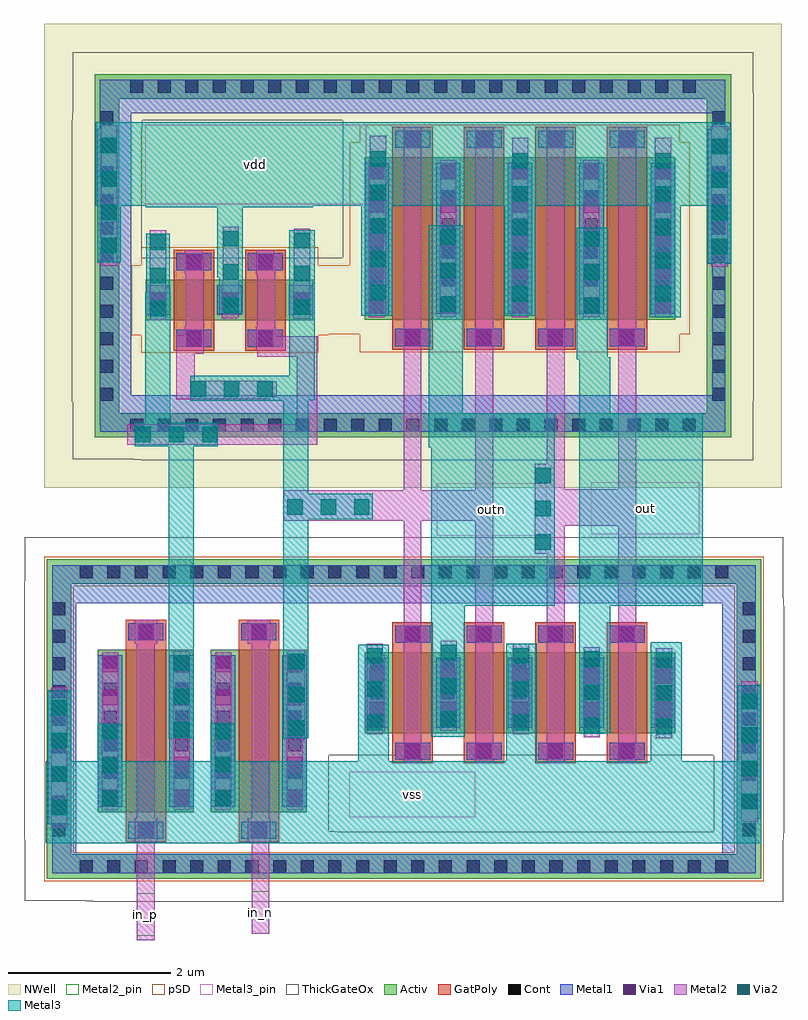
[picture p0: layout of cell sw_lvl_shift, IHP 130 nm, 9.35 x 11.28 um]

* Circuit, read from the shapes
.subckt sw_lvl_shift in_n in_p out outn vdd vss
XM1 sg13_hv_pmos_2TUKLB_20/D0 in_p vss vss sg13_hv_nmos w=2u l=0.5u
XM2 sg13_hv_nmos_CJ33WB_5/D1 in_n vss vss sg13_hv_nmos w=2u l=0.5u
XM3 outn sg13_hv_nmos_CJ33WB_5/D1 vss vss sg13_hv_nmos w=1u l=0.5u m=2
XM4 out outn vss vss sg13_hv_nmos w=1u l=0.5u m=2
XM5 vdd sg13_hv_nmos_CJ33WB_5/D1 sg13_hv_pmos_2TUKLB_20/D0 vdd sg13_hv_pmos w=0.5u l=0.5u
XM6 sg13_hv_nmos_CJ33WB_5/D1 sg13_hv_pmos_2TUKLB_20/D0 vdd vdd sg13_hv_pmos w=0.5u l=0.5u
XM7 outn sg13_hv_nmos_CJ33WB_5/D1 vdd vdd sg13_hv_pmos w=2u l=0.5u m=2
XM8 out outn vdd vdd sg13_hv_pmos w=2u l=0.5u m=2
.ends

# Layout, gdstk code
from math import pi, radians
import gdstk
lib = gdstk.Library(unit=1e-6, precision=1e-09)
def R(c, l, rs):  # rectangles x0, y0, x1, y1
    for r in rs: c.add(gdstk.rectangle(r[:2], r[2:], *l))
def A(c, l, x, y, w, h, nx, ny, dx, dy):  # array of equal rectangles
    R(c, l, [(x+i*dx, y+j*dy, x+i*dx+w, y+j*dy+h) for i in range(nx) for j in range(ny)])
Activ = (1, 0)
GatPoly = (5, 0)
Cont = (6, 0)
Metal1 = (8, 0)
Metal2 = (10, 0)
Metal2_pin = (10, 2)
pSD = (14, 0)
Via1 = (19, 0)
Via2 = (29, 0)
Metal3 = (30, 0)
Metal3_pin = (30, 2)
NWell = (31, 0)
ThickGateOx = (44, 0)

via_y6zd6n = lib.new_cell('via_Y6ZD6N')
R(via_y6zd6n, Metal2, [(-0.1,-0.555,0.1,0.555)])
A(via_y6zd6n, Via2, -0.095, -0.505, 0.19, 0.19, 1, 3, 0, 0.41)
R(via_y6zd6n, Metal3, [(-0.145,-0.51,0.145,0.51)])

via_qp3u7v = lib.new_cell('via_QP3U7V')
R(via_qp3u7v, Metal1, [(-0.145,-0.825,0.145,0.825)])
R(via_qp3u7v, Metal2, [(-0.1,-0.865,0.1,0.865)])
A(via_qp3u7v, Via1, -0.095, -0.71, 0.19, 0.19, 1, 4, 0, 0.41)
A(via_qp3u7v, Via2, -0.095, -0.71, 0.19, 0.19, 1, 4, 0, 0.41)
R(via_qp3u7v, Metal3, [(-0.145,-0.82,0.145,0.82)])

sg13_hv_nmos_cj33wb = lib.new_cell('sg13_hv_nmos_CJ33WB')
R(sg13_hv_nmos_cj33wb, Activ, [(-1.285,-1,-0.105,1), (0.105,-1,1.285,1)])
R(sg13_hv_nmos_cj33wb, GatPoly, [(-0.945,-1.37,-0.445,1.37), (0.445,-1.37,0.945,1.37)])
A(sg13_hv_nmos_cj33wb, Cont, -1.215, -0.93, 0.16, 0.16, 1, 6, 0, 0.34)
A(sg13_hv_nmos_cj33wb, Cont, -0.335, -0.93, 0.16, 0.16, 1, 6, 0, 0.34)
A(sg13_hv_nmos_cj33wb, Cont, 0.175, -0.93, 0.16, 0.16, 1, 6, 0, 0.34)
A(sg13_hv_nmos_cj33wb, Cont, 1.055, -0.93, 0.16, 0.16, 1, 6, 0, 0.34)
R(sg13_hv_nmos_cj33wb, Cont, [(-0.775,-1.3,-0.615,-1.14), (0.615,-1.3,0.775,-1.14), (-0.775,1.14,-0.615,1.3), (0.615,1.14,0.775,1.3)])
R(sg13_hv_nmos_cj33wb, Metal1, [(-0.91,-1.325,-0.48,-1.115), (0.48,-1.325,0.91,-1.115), (-1.285,-0.93,-0.985,0.93), (-0.405,-0.93,-0.105,0.93), (0.105,-0.93,0.405,0.93), (0.985,-0.93,1.285,0.93), (-0.91,1.115,-0.48,1.325), (0.48,1.115,0.91,1.325)])
R(sg13_hv_nmos_cj33wb, Metal2, [(-0.835,-1.365,-0.555,-1.075), (0.555,-1.365,0.835,-1.075), (-1.235,-0.97,-1.035,0.97), (-0.355,-0.97,-0.155,0.97), (0.155,-0.97,0.355,0.97), (1.035,-0.97,1.235,0.97), (-0.835,1.075,-0.555,1.365), (0.555,1.075,0.835,1.365)])
A(sg13_hv_nmos_cj33wb, Via1, -1.23, -0.915, 0.19, 0.19, 1, 5, 0, 0.41)
A(sg13_hv_nmos_cj33wb, Via1, -0.35, -0.915, 0.19, 0.19, 1, 5, 0, 0.41)
A(sg13_hv_nmos_cj33wb, Via1, 0.16, -0.915, 0.19, 0.19, 1, 5, 0, 0.41)
A(sg13_hv_nmos_cj33wb, Via1, 1.04, -0.915, 0.19, 0.19, 1, 5, 0, 0.41)
R(sg13_hv_nmos_cj33wb, Via1, [(-0.79,-1.315,-0.6,-1.125), (0.6,-1.315,0.79,-1.125), (-0.79,1.125,-0.6,1.315), (0.6,1.125,0.79,1.315)])
R(sg13_hv_nmos_cj33wb, ThickGateOx, [(-1.555,-1.27,1.555,1.27)])
sg13_hv_nmos_cj33wb.add(gdstk.Label('D0', (-1.135,0), layer=8, texttype=25))
sg13_hv_nmos_cj33wb.add(gdstk.Label('S0', (-0.255,0), layer=8, texttype=25))
sg13_hv_nmos_cj33wb.add(gdstk.Label('G0', (-0.695,1.22), layer=8, texttype=25))
sg13_hv_nmos_cj33wb.add(gdstk.Label('D1', (1.135,0), layer=8, texttype=25))
sg13_hv_nmos_cj33wb.add(gdstk.Label('S1', (0.255,0), layer=8, texttype=25))
sg13_hv_nmos_cj33wb.add(gdstk.Label('G1', (0.695,1.22), layer=8, texttype=25))

sg13_hv_nmos_hsmmzs = lib.new_cell('sg13_hv_nmos_HSMMZS')
R(sg13_hv_nmos_hsmmzs, Activ, [(-1.91,-0.5,1.91,0.5)])
A(sg13_hv_nmos_hsmmzs, GatPoly, -1.57, -0.87, 0.5, 1.74, 4, 1, 0.88, 0)
A(sg13_hv_nmos_hsmmzs, Cont, -1.4, -0.8, 0.16, 0.16, 4, 2, 0.88, 1.44)
A(sg13_hv_nmos_hsmmzs, Cont, -1.84, -0.42, 0.16, 0.16, 5, 3, 0.88, 0.34)
A(sg13_hv_nmos_hsmmzs, Metal1, -1.535, -0.825, 0.43, 0.21, 4, 2, 0.88, 1.44)
A(sg13_hv_nmos_hsmmzs, Metal1, -1.91, -0.43, 0.3, 0.86, 5, 1, 0.88, 0)
A(sg13_hv_nmos_hsmmzs, Metal2, -1.43, -0.865, 0.22, 0.29, 4, 2, 0.88, 1.44)
A(sg13_hv_nmos_hsmmzs, Metal2, -1.86, -0.47, 0.2, 0.94, 5, 1, 0.88, 0)
A(sg13_hv_nmos_hsmmzs, Via1, -1.415, -0.815, 0.19, 0.19, 4, 2, 0.88, 1.44)
A(sg13_hv_nmos_hsmmzs, Via1, -1.855, -0.3, 0.19, 0.19, 5, 2, 0.88, 0.41)
R(sg13_hv_nmos_hsmmzs, ThickGateOx, [(-2.18,-0.77,2.18,0.77)])
sg13_hv_nmos_hsmmzs.add(gdstk.Label('D0', (-1.76,0), layer=8, texttype=25))
sg13_hv_nmos_hsmmzs.add(gdstk.Label('G0', (-1.32,0.72), layer=8, texttype=25))
sg13_hv_nmos_hsmmzs.add(gdstk.Label('S1', (-0.88,0), layer=8, texttype=25))
sg13_hv_nmos_hsmmzs.add(gdstk.Label('G1', (-0.44,0.72), layer=8, texttype=25))
sg13_hv_nmos_hsmmzs.add(gdstk.Label('D2', (0,0), layer=8, texttype=25))
sg13_hv_nmos_hsmmzs.add(gdstk.Label('G2', (0.44,0.72), layer=8, texttype=25))
sg13_hv_nmos_hsmmzs.add(gdstk.Label('S3', (0.88,0), layer=8, texttype=25))
sg13_hv_nmos_hsmmzs.add(gdstk.Label('G3', (1.32,0.72), layer=8, texttype=25))

via_y6z86n = lib.new_cell('via_Y6Z86N')
R(via_y6z86n, Metal2, [(-0.1,-1.105,0.1,1.105)])
A(via_y6z86n, Via2, -0.095, -0.915, 0.19, 0.19, 1, 5, 0, 0.41)
R(via_y6z86n, Metal3, [(-0.145,-1.06,0.145,1.06)])

sg13_hv_pmos_2tuklb = lib.new_cell('sg13_hv_pmos_2TUKLB')
R(sg13_hv_pmos_2tuklb, Activ, [(-1.03,-0.25,1.03,0.25)])
R(sg13_hv_pmos_2tuklb, GatPoly, [(-0.69,-0.62,-0.19,0.62), (0.19,-0.62,0.69,0.62)])
A(sg13_hv_pmos_2tuklb, Cont, -0.96, -0.08, 0.16, 0.16, 3, 1, 0.88, 0)
R(sg13_hv_pmos_2tuklb, Cont, [(-0.52,-0.55,-0.36,-0.39), (0.36,-0.55,0.52,-0.39), (-0.52,0.39,-0.36,0.55), (0.36,0.39,0.52,0.55)])
A(sg13_hv_pmos_2tuklb, Metal1, -1.03, -0.18, 0.3, 0.36, 3, 1, 0.88, 0)
R(sg13_hv_pmos_2tuklb, Metal1, [(-0.655,-0.575,-0.225,-0.365), (0.225,-0.575,0.655,-0.365), (-0.655,0.365,-0.225,0.575), (0.225,0.365,0.655,0.575)])
A(sg13_hv_pmos_2tuklb, Metal2, -0.98, -0.22, 0.2, 0.44, 3, 1, 0.88, 0)
R(sg13_hv_pmos_2tuklb, Metal2, [(-0.55,-0.615,-0.33,-0.325), (0.33,-0.615,0.55,-0.325), (-0.55,0.325,-0.33,0.615), (0.33,0.325,0.55,0.615)])
R(sg13_hv_pmos_2tuklb, pSD, [(-1.09,-0.65,1.09,-0.43), (-1.21,-0.43,1.21,0.43), (-1.09,0.43,1.09,0.65)])
A(sg13_hv_pmos_2tuklb, Via1, -0.975, -0.095, 0.19, 0.19, 3, 1, 0.88, 0)
R(sg13_hv_pmos_2tuklb, Via1, [(-0.535,-0.565,-0.345,-0.375), (0.345,-0.565,0.535,-0.375), (-0.535,0.375,-0.345,0.565), (0.345,0.375,0.535,0.565)])
R(sg13_hv_pmos_2tuklb, NWell, [(-1.65,-0.87,1.65,0.87)])
R(sg13_hv_pmos_2tuklb, ThickGateOx, [(-1.3,-0.52,1.3,0.52)])
sg13_hv_pmos_2tuklb.add(gdstk.Label('D0', (-0.88,0), layer=8, texttype=25))
sg13_hv_pmos_2tuklb.add(gdstk.Label('G0', (-0.44,0.47), layer=8, texttype=25))
sg13_hv_pmos_2tuklb.add(gdstk.Label('S1', (0,0), layer=8, texttype=25))
sg13_hv_pmos_2tuklb.add(gdstk.Label('G1', (0.44,0.47), layer=8, texttype=25))

sg13_hv_pmos_xrp95e = lib.new_cell('sg13_hv_pmos_XRP95E')
R(sg13_hv_pmos_xrp95e, Activ, [(-1.91,-1,1.91,1)])
A(sg13_hv_pmos_xrp95e, GatPoly, -1.57, -1.37, 0.5, 2.74, 4, 1, 0.88, 0)
A(sg13_hv_pmos_xrp95e, Cont, -1.4, -1.3, 0.16, 0.16, 4, 2, 0.88, 2.44)
A(sg13_hv_pmos_xrp95e, Cont, -1.84, -0.93, 0.16, 0.16, 5, 6, 0.88, 0.34)
A(sg13_hv_pmos_xrp95e, Metal1, -1.535, -1.325, 0.43, 0.21, 4, 2, 0.88, 2.44)
A(sg13_hv_pmos_xrp95e, Metal1, -1.91, -0.93, 0.3, 1.86, 5, 1, 0.88, 0)
A(sg13_hv_pmos_xrp95e, Metal2, -1.43, -1.365, 0.22, 0.29, 4, 2, 0.88, 2.44)
A(sg13_hv_pmos_xrp95e, Metal2, -1.86, -0.97, 0.2, 1.94, 5, 1, 0.88, 0)
R(sg13_hv_pmos_xrp95e, pSD, [(-1.97,-1.4,1.97,-1.18), (-2.09,-1.18,2.09,1.18), (-1.97,1.18,1.97,1.4)])
A(sg13_hv_pmos_xrp95e, Via1, -1.415, -1.315, 0.19, 0.19, 4, 2, 0.88, 2.44)
A(sg13_hv_pmos_xrp95e, Via1, -1.855, -0.915, 0.19, 0.19, 5, 5, 0.88, 0.41)
R(sg13_hv_pmos_xrp95e, NWell, [(-2.53,-1.62,2.53,1.62)])
R(sg13_hv_pmos_xrp95e, ThickGateOx, [(-2.18,-1.27,2.18,1.27)])
sg13_hv_pmos_xrp95e.add(gdstk.Label('D0', (-1.76,0), layer=8, texttype=25))
sg13_hv_pmos_xrp95e.add(gdstk.Label('G0', (-1.32,1.22), layer=8, texttype=25))
sg13_hv_pmos_xrp95e.add(gdstk.Label('S1', (-0.88,0), layer=8, texttype=25))
sg13_hv_pmos_xrp95e.add(gdstk.Label('G1', (-0.44,1.22), layer=8, texttype=25))
sg13_hv_pmos_xrp95e.add(gdstk.Label('D2', (0,0), layer=8, texttype=25))
sg13_hv_pmos_xrp95e.add(gdstk.Label('G2', (0.44,1.22), layer=8, texttype=25))
sg13_hv_pmos_xrp95e.add(gdstk.Label('S3', (0.88,0), layer=8, texttype=25))
sg13_hv_pmos_xrp95e.add(gdstk.Label('G3', (1.32,1.22), layer=8, texttype=25))

sw_lvl_shift = lib.new_cell('sw_lvl_shift')
R(sw_lvl_shift, Activ, [(-5.57,2.34,3.22,2.64), (-5.57,2.64,-5.27,5.97), (2.92,2.64,3.22,5.97), (-5.57,5.97,3.22,6.27), (-4.98,7.77,2.85,8.07), (-4.98,8.07,-4.68,11.94), (2.55,8.07,2.85,11.94), (-4.98,11.94,2.85,12.24)])
A(sw_lvl_shift, Cont, -5.165, 2.41, 0.16, 0.16, 24, 2, 0.34, 3.63)
A(sw_lvl_shift, Cont, -5.5, 2.865, 0.16, 0.16, 1, 9, 0, 0.34)
A(sw_lvl_shift, Cont, 2.99, 2.865, 0.16, 0.16, 1, 9, 0, 0.34)
A(sw_lvl_shift, Cont, -4.545, 7.84, 0.16, 0.16, 21, 2, 0.34, 4.17)
A(sw_lvl_shift, Cont, -4.91, 8.225, 0.16, 0.16, 1, 11, 0, 0.34)
A(sw_lvl_shift, Cont, 2.62, 8.225, 0.16, 0.16, 1, 11, 0, 0.34)
R(sw_lvl_shift, Metal1, [(-5.5,2.41,3.15,2.65), (-5.5,2.65,-5.21,5.73), (2.74,2.65,3.15,5.73), (-5.5,5.73,3.15,6.2), (-4.91,7.84,2.78,7.92), (-4.92,7.92,2.78,8.29), (-4.92,8.29,-4.53,11.76), (2.62,8.29,2.78,11.76), (-4.92,11.76,2.78,12.17)])
R(sw_lvl_shift, Metal2, [(-4.46,1.585,-4.24,5.455), (-3.05,1.665,-2.83,5.35), (-1.18,3.81,-0.96,6.745), (-0.3,3.81,-0.08,6.745), (0.58,3.81,0.8,6.685), (1.46,3.81,1.68,6.685), (0.54,6.685,1.68,7.135), (-2.655,6.745,-0.08,7.12), (-1.18,7.12,-0.96,11.53), (-0.3,7.12,-0.08,11.53), (0.58,7.135,0.8,11.53), (1.46,7.135,1.68,11.53), (-4.58,7.68,-2.245,7.93), (-2.495,7.93,-2.245,8.765), (-3.98,8.24,-2.82,8.47), (-3.98,8.47,-3.75,8.8), (-2.98,8.765,-2.245,9.015), (-3.98,8.8,-3.64,9.025), (-2.98,9.015,-2.76,9.95), (-3.86,9.025,-3.64,9.95)])
R(sw_lvl_shift, Metal2_pin, [(-4.46,1.64,-4.24,2.16), (-3.05,1.665,-2.83,2.185)])
R(sw_lvl_shift, pSD, [(-5.6,2.31,3.25,2.67), (-5.6,2.67,-5.24,5.94), (2.89,2.67,3.25,5.94), (-5.6,5.94,3.25,6.3), (-2.11,9.04,-1.84,9.89)])
R(sw_lvl_shift, Metal3, [(-5.58,2.78,3.22,3.79), (-1.74,3.79,-1.36,5.22), (0.08,3.79,0.46,5.23), (1.86,3.79,2.24,5.25), (-4.07,4.07,-3.76,7.73), (-2.66,4.07,-2.35,6.765), (-0.84,4.09,-0.43,5.7), (0.98,4.13,1.36,5.7), (-0.84,5.7,0.68,7.65), (0.98,5.7,2.5,8.07), (-2.66,6.765,-1.56,7.075), (-2.66,7.075,-2.35,8.22), (-0.87,7.65,0.68,8.07), (-4.36,7.73,-3.76,7.95), (-4.36,7.95,-4.05,9.55), (-0.87,8.07,-0.45,10.38), (0.98,8.07,1.36,8.73), (-3.8,8.22,-2.35,8.23), (-3.8,8.23,-2.275,8.53), (-2.585,8.53,-2.275,10.32), (0.95,8.73,1.36,8.76), (0.95,8.76,1.33,10.35), (1.85,9.25,2.23,10.62), (-1.7,9.27,-1.32,10.62), (0.06,9.27,0.44,10.62), (-3.47,9.74,-3.16,10.6), (-4.35,10.6,-2.3,10.62), (-4.97,10.62,2.845,11.65)])
R(sw_lvl_shift, Metal3_pin, [(-1.85,3.1,-0.3,3.66), (-0.77,6.56,0.58,7.21), (1.13,6.58,2.46,7.22), (-4.36,10.64,-1.64,11.62)])
R(sw_lvl_shift, NWell, [(-5.6,7.15,3.47,12.86)])
R(sw_lvl_shift, ThickGateOx, [(-5,2.06,3.49,2.065), (-5.085,2.065,3.49,2.07), (-5.84,2.07,3.49,2.825), (-5.845,2.825,3.495,2.91), (-5.85,2.91,3.5,2.92), (-5.85,2.92,-4.905,2.925), (-2.1,2.92,-2.005,2.925), (2.635,2.92,3.5,3.86), (-5.85,2.925,-4.985,3.005), (-5.85,3.005,-4.99,5.43), (-2.1,3.86,-1.93,5.4), (2.43,3.86,3.5,5.4), (-2.1,5.4,3.5,5.43), (-5.85,5.43,3.5,5.7), (-5.85,5.7,3.495,5.795), (-5.85,5.795,3.49,5.995), (-5.84,5.995,3.49,6.54), (-4.41,7.49,3.12,7.495), (-4.495,7.495,3.12,7.5), (-5.25,7.5,3.12,8.21), (-5.26,8.21,3.12,8.215), (-5.26,8.215,3.13,8.94), (-5.26,8.94,-4.4,11.575), (-2.02,8.94,3.13,8.95), (-2.02,8.95,-1.93,9.98), (2.27,8.95,3.13,11.49), (-1.93,11.49,3.13,11.67), (-5.26,11.575,-4.395,11.67), (-5.255,11.67,3.13,11.765), (-5.25,11.765,3.13,12.01), (-5.25,12.01,3.12,12.51)])
sw_lvl_shift.add(gdstk.Reference(via_y6zd6n, (-2.495,4.605)))
sw_lvl_shift.add(gdstk.Reference(via_y6zd6n, (-3.915,4.585)))
sw_lvl_shift.add(gdstk.Reference(via_y6zd6n, (-3.405,3.745)))
sw_lvl_shift.add(gdstk.Reference(via_y6zd6n, (-4.795,3.74)))
sw_lvl_shift.add(gdstk.Reference(via_qp3u7v, (-5.415,3.835)))
sw_lvl_shift.add(gdstk.Reference(sg13_hv_nmos_cj33wb, (-3.655,4.16)))
sw_lvl_shift.add(gdstk.Reference(via_y6zd6n, (2.025,4.625)))
sw_lvl_shift.add(gdstk.Reference(via_y6zd6n, (0.265,4.675)))
sw_lvl_shift.add(gdstk.Reference(via_y6zd6n, (-1.535,4.675)))
sw_lvl_shift.add(gdstk.Reference(via_y6zd6n, (1.135,4.635)))
sw_lvl_shift.add(gdstk.Reference(via_y6zd6n, (-0.625,4.715)))
sw_lvl_shift.add(gdstk.Reference(sg13_hv_nmos_hsmmzs, (0.25,4.63)))
sw_lvl_shift.add(gdstk.Reference(via_qp3u7v, (3.075,3.905)))
sw_lvl_shift.add(gdstk.Reference(via_y6zd6n, (-2.43,9.785), rotation=pi))
sw_lvl_shift.add(gdstk.Reference(via_y6zd6n, (-3.305,9.805), rotation=pi))
sw_lvl_shift.add(gdstk.Reference(via_y6zd6n, (-4.2,9.765), rotation=pi))
sw_lvl_shift.add(gdstk.Reference(via_y6zd6n, (-2.105,6.915), rotation=3*pi/2))
sw_lvl_shift.add(gdstk.Reference(via_y6zd6n, (-3.295,8.365), rotation=3*pi/2))
sw_lvl_shift.add(gdstk.Reference(via_y6zd6n, (-3.975,7.805), rotation=3*pi/2))
sw_lvl_shift.add(gdstk.Reference(via_y6z86n, (-1.495,10.375), x_reflection=True))
sw_lvl_shift.add(gdstk.Reference(sg13_hv_pmos_2tuklb, (-3.32,9.46)))
sw_lvl_shift.add(gdstk.Reference(via_y6zd6n, (-0.635,9.825)))
sw_lvl_shift.add(gdstk.Reference(via_y6zd6n, (0.535,6.895), rotation=pi))
sw_lvl_shift.add(gdstk.Reference(via_y6zd6n, (1.135,9.805)))
sw_lvl_shift.add(gdstk.Reference(via_y6z86n, (2.01,10.355), x_reflection=True))
sw_lvl_shift.add(gdstk.Reference(via_y6z86n, (0.255,10.355), x_reflection=True))
sw_lvl_shift.add(gdstk.Reference(sg13_hv_pmos_xrp95e, (0.25,10.22)))
sw_lvl_shift.add(gdstk.Reference(via_qp3u7v, (-4.805,10.745)))
sw_lvl_shift.add(gdstk.Reference(via_qp3u7v, (2.705,10.735)))
sw_lvl_shift.add(gdstk.Label('in_n', (-2.94,1.925), layer=10, texttype=25))
sw_lvl_shift.add(gdstk.Label('in_p', (-4.35,1.9), layer=10, texttype=25))
sw_lvl_shift.add(gdstk.Label('vdd', (-3,11.13), layer=30, texttype=25))
sw_lvl_shift.add(gdstk.Label('vss', (-1.075,3.38), layer=30, texttype=25))
sw_lvl_shift.add(gdstk.Label('out', (1.795,6.9), layer=30, texttype=25))
sw_lvl_shift.add(gdstk.Label('outn', (-0.095,6.885), layer=30, texttype=25))

lib.write_gds('sw_lvl_shift.gds')
